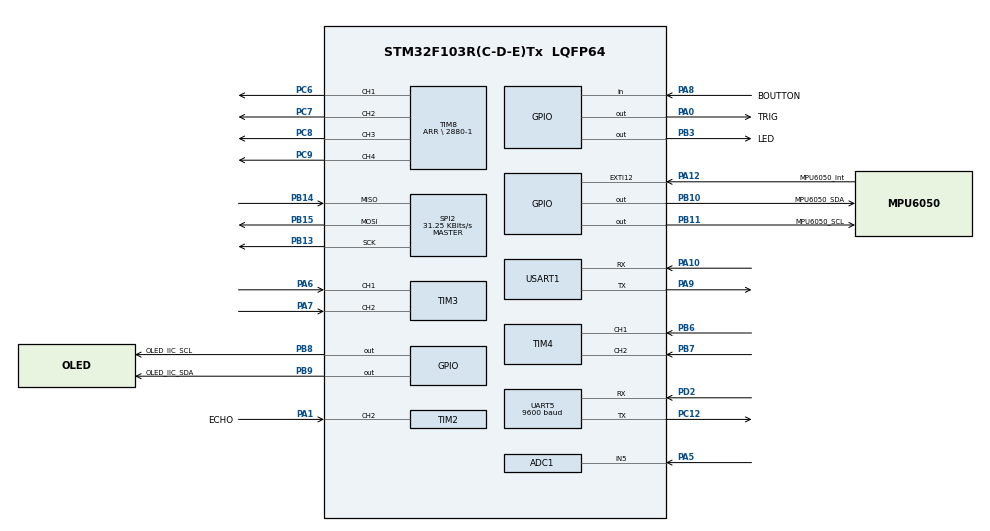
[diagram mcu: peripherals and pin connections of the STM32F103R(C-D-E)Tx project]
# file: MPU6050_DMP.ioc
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ADC1.Channel-1\#ChannelRegularConversion=ADC_CHANNEL_5
ADC1.NbrOfConversionFlag=1
ADC1.Rank-1\#ChannelRegularConversion=1
ADC1.SamplingTime-1\#ChannelRegularConversion=ADC_SAMPLETIME_1CYCLE_5
ADC1.master=1
Mcu.Family=STM32F1
Mcu.Name=STM32F103R(C-D-E)Tx
Mcu.Package=LQFP64
NVIC.EXTI15_10_IRQn=true\:2\:0\:true\:false\:true\:true\:true\:true
NVIC.PriorityGroup=NVIC_PRIORITYGROUP_4
NVIC.SPI2_IRQn=true\:0\:0\:false\:false\:true\:true\:true\:true
NVIC.TIM2_IRQn=true\:1\:0\:true\:false\:true\:true\:true\:true
NVIC.TIM6_IRQn=true\:3\:0\:true\:false\:true\:true\:true\:true
NVIC.UART5_IRQn=true\:0\:0\:false\:false\:true\:true\:true\:true
PA0-WKUP.GPIO_Label=TRIG
PA0-WKUP.Signal=GPIO_Output
PA1.GPIO_Label=ECHO
PA1.GPIO_ModeDefaultPP=GPIO_MODE_AF_OD
PA1.Signal=S_TIM2_CH2
PA10.Mode=Asynchronous
PA10.Signal=USART1_RX
PA12.GPIO_Label=MPU6050_Int
PA12.GPIO_ModeDefaultEXTI=GPIO_MODE_IT_RISING
PA12.GPIO_PuPd=GPIO_PULLUP
PA12.Signal=GPXTI12
PA5.Signal=ADCx_IN5
PA6.Signal=S_TIM3_CH1
PA7.Signal=S_TIM3_CH2
PA8.GPIO_Label=BOUTTON
PA8.GPIO_PuPd=GPIO_PULLUP
PA8.Signal=GPIO_Input
PA9.Mode=Asynchronous
PA9.Signal=USART1_TX
PB10.GPIO_Label=MPU6050_SDA
PB10.GPIO_PuPd=GPIO_PULLUP
PB10.GPIO_Speed=GPIO_SPEED_FREQ_LOW
PB10.Signal=GPIO_Output
PB11.GPIO_Label=MPU6050_SCL
PB11.GPIO_PuPd=GPIO_PULLUP
PB11.GPIO_Speed=GPIO_SPEED_FREQ_LOW
PB11.Signal=GPIO_Output
PB12.Signal=SPI2_NSS
PB13.Mode=Full_Duplex_Master
PB13.Signal=SPI2_SCK
PB14.Mode=Full_Duplex_Master
PB14.Signal=SPI2_MISO
PB15.Mode=Full_Duplex_Master
PB15.Signal=SPI2_MOSI
PB3.GPIO_Label=LED
PB3.Signal=GPIO_Output
PB6.Signal=S_TIM4_CH1
PB7.Signal=S_TIM4_CH2
PB8.GPIO_Label=OLED_IIC_SCL
PB8.GPIO_PuPd=GPIO_PULLUP
PB8.Signal=GPIO_Output
PB9.GPIO_Label=OLED_IIC_SDA
PB9.GPIO_ModeDefaultOutputPP=GPIO_MODE_OUTPUT_PP
PB9.GPIO_PuPd=GPIO_PULLUP
PB9.PinState=GPIO_PIN_RESET
PB9.Signal=GPIO_Output
PC12.Mode=Asynchronous
PC12.Signal=UART5_TX
PC6.Signal=S_TIM8_CH1
PC7.Signal=S_TIM8_CH2
PC8.Signal=S_TIM8_CH3
PC9.Signal=S_TIM8_CH4
PD2.GPIO_PuPd=GPIO_NOPULL
PD2.Mode=Asynchronous
PD2.Signal=UART5_RX
ProjectManager.HeapSize=0x200
ProjectManager.StackSize=0x400
ProjectManager.TargetToolchain=STM32CubeIDE
RCC.APB1Freq_Value=8000000
RCC.APB2Freq_Value=8000000
SH.ADCx_IN5.0=ADC1_IN5,IN5
SH.S_TIM2_CH2.0=TIM2_CH2,Input_Capture2_from_TI2
SH.S_TIM3_CH1.0=TIM3_CH1,Encoder_Interface
SH.S_TIM3_CH2.0=TIM3_CH2,Encoder_Interface
SH.S_TIM4_CH1.0=TIM4_CH1,Encoder_Interface
SH.S_TIM4_CH2.0=TIM4_CH2,Encoder_Interface
SH.S_TIM8_CH1.0=TIM8_CH1,PWM Generation1 CH1
SH.S_TIM8_CH2.0=TIM8_CH2,PWM Generation2 CH2
SH.S_TIM8_CH3.0=TIM8_CH3,PWM Generation3 CH3
SH.S_TIM8_CH4.0=TIM8_CH4,PWM Generation4 CH4
SPI2.BaudRatePrescaler=SPI_BAUDRATEPRESCALER_256
SPI2.CLKPhase=SPI_PHASE_2EDGE
SPI2.CLKPolarity=SPI_POLARITY_HIGH
SPI2.CalculateBaudRate=31.25 KBits/s
SPI2.Direction=SPI_DIRECTION_2LINES
SPI2.Mode=SPI_MODE_MASTER
SPI2.VirtualType=VM_MASTER
TIM2.AutoReloadPreload=TIM_AUTORELOAD_PRELOAD_ENABLE
TIM2.Channel-Input_Capture2_from_TI2=TIM_CHANNEL_2
TIM2.Prescaler=71
TIM6.Period=99
TIM6.Prescaler=7199
TIM8.AutoReloadPreload=TIM_AUTORELOAD_PRELOAD_ENABLE
TIM8.Channel-PWM\ Generation1\ CH1=TIM_CHANNEL_1
TIM8.Channel-PWM\ Generation2\ CH2=TIM_CHANNEL_2
TIM8.Channel-PWM\ Generation3\ CH3=TIM_CHANNEL_3
TIM8.Channel-PWM\ Generation4\ CH4=TIM_CHANNEL_4
TIM8.Period=\ 2880-1
UART5.BaudRate=9600
UART5.VirtualMode=Asynchronous
USART1.VirtualMode=VM_ASYNC
VP_SYS_VS_ND.Mode=No_Debug
VP_TIM2_VS_ClockSourceINT.Mode=Internal
VP_TIM6_VS_ClockSourceINT.Mode=Enable_Timer
board=custom

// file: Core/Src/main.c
/* USER CODE BEGIN Header */
/**
  ******************************************************************************
  * @file           : main.c
  * @brief          : Main program body
  ******************************************************************************
  * @attention
  *
  * Copyright (c) 2025 STMicroelectronics.
  * All rights reserved.
  *
  * This software is licensed under terms that can be found in the LICENSE file
  * in the root directory of this software component.
  * If no LICENSE file comes with this software, it is provided AS-IS.
  *
  ******************************************************************************
  */
/* USER CODE END Header */
#include "main.h"

/* USER CODE BEGIN Includes */
#include <stdio.h>

/* USER CODE END Includes */

/* USER CODE BEGIN PTD */
uint8_t GET_Angle_Way=2;                             // Algorithms for obtaining angles: 1: Quaternion 2: Kalman 3: Complementary filtering
float Angle_Balance,Gyro_Balance,Gyro_Turn;     		// Balanced tilt Balanced gyro Steering gyro
int Motor_Left,Motor_Right;                 	  		// Motor PWM variables
int Temperature;                                		// Temperature variables
float Acceleration_Z;                           		// Z-axis accelerometer
int Mid_Angle;                          						// Mechanical median
float Move_X,Move_Z; //
u8 Stop_Flag = 1;

char showbuf[20]={'\0'};

extern volatile uint8_t Start_Flag;
uint8_t mpu_data_ready = 0;
uint8_t ccd_conut = 0;

uint8_t UART5_RxByte;

/* USER CODE END PTD */

ADC_HandleTypeDef hadc1;

SPI_HandleTypeDef hspi2;

TIM_HandleTypeDef htim2;
TIM_HandleTypeDef htim3;
TIM_HandleTypeDef htim4;
TIM_HandleTypeDef htim6;
TIM_HandleTypeDef htim8;

UART_HandleTypeDef huart5;
UART_HandleTypeDef huart1;

void SystemClock_Config(void);
static void MX_GPIO_Init(void);
static void MX_TIM6_Init(void);
static void MX_TIM3_Init(void);
static void MX_TIM4_Init(void);
static void MX_TIM8_Init(void);
static void MX_USART1_UART_Init(void);
static void MX_ADC1_Init(void);
static void MX_TIM2_Init(void);
static void MX_UART5_Init(void);
static void MX_SPI2_Init(void);

/* USER CODE BEGIN 0 */
int _write(int file, char *ptr, int len)
{
    HAL_UART_Transmit(&huart1, (uint8_t*)ptr, len, HAL_MAX_DELAY );
    return len;
}

/* USER CODE END 0 */

int main(void)
{

  /* MCU Configuration--------------------------------------------------------*/

  /* Reset of all peripherals, Initializes the Flash interface and the Systick. */
  HAL_Init();

  /* Configure the system clock */
  SystemClock_Config();

  /* Initialize all configured peripherals */
  MX_GPIO_Init();
  MX_TIM6_Init();
  MX_TIM3_Init();
  MX_TIM4_Init();
  MX_TIM8_Init();
  MX_USART1_UART_Init();
  MX_ADC1_Init();
  MX_TIM2_Init();
  MX_UART5_Init();
  MX_SPI2_Init();
  /* USER CODE BEGIN 2 */
  /* USER CODE BEGIN 2 */

  HAL_UART_Receive_IT(&huart5, &UART5_RxByte, 1);

  // Désactiver temporairement l'interruption
   HAL_NVIC_DisableIRQ(EXTI15_10_IRQn);
   delay_init();
   Motor_start();
   Encoder_Init_TIM3();
   Encoder_Init_TIM4();

   Ultrasonic_Init();
   PS2_Init();
   HAL_Delay(300);

   PS2_SetInit();
   HAL_Delay(300);

   OLED_I2C_Init();
   OLED_Draw_Line("oled init success!", 1, true, true);

   printf("\r\n========================================\r\n");
   printf("  ROBOT AUTO-ÉQUILIBRANT v1.0\r\n");
   printf("========================================\r\n");
   printf("Hardware:\r\n");
   printf("  I2C: PB10(SDA), PB11(SCL)\r\n");
   printf("  INT: PC15\r\n");
   printf("  BTN: PA8 (Start/Stop)\r\n");
   printf("  LED: PA11 (Debug)\r\n");
   printf("========================================\r\n\r\n");

   HAL_Delay(500);
   // Test GPIO I2C
     printf("[1/6] Testing I2C GPIO...\r\n");
    IIC_Start();
    IIC_Stop();

    HAL_Delay(1);

   // Initialisation MPU6050
   printf("[3/6] Initializing MPU6050...\r\n");
   HAL_Delay(300);
   MPU6050_initialize();
   HAL_Delay(200);

   // Initialisation DMP
   printf("[4/6] Initializing DMP...\r\n");
   DMP_Init();
   HAL_Delay(300);
   printf("      ✓ DMP ready\r\n\r\n");

   // Configuration interruption
   printf("[5/6] Configuring interrupt...\r\n");
   MPU6050_EXTI_Init();
   HAL_Delay(100);

   printf("[6/6] Calibration...\r\n");
   Mid_Angle = 1;
   printf("      Mid_Angle: %.d° (fixed)\r\n", Mid_Angle);
   printf("      ✓ Calibration skipped\r\n\r\n");
   // Configuration finale
   angle_max = 40;
   Stop_Flag = 1;      // Robot arrêté au démarrage

   printf("========================================\r\n");
   printf("  ✓ SYSTEM READY!\r\n");
   printf("========================================\r\n");
   printf("Configuration:\r\n");
   printf("  Stop_Flag: 1 (Waiting for button)\r\n");
   printf("========================================\r\n");
   printf("\r\n>>> PRESS BUTTON (PA8) TO START <<<\r\n\r\n");

  /* USER CODE END 2 */

  /* Infinite loop */
  /* USER CODE BEGIN WHILE */

   HAL_NVIC_EnableIRQ(EXTI15_10_IRQn);
   printf("      ✓ EXTI enabled\r\n\r\n");
     // Key1_State(0) détecte un appui court
   while(Key1_State(0) == BOUTTON_RELEASE )
     {
         // On fait clignoter une LED pour montrer que le système n'est pas planté
         HAL_GPIO_TogglePin(LED_GPIO_Port, LED_Pin);
         HAL_Delay(100);
      }

     // Une fois sorti de la boucle (bouton pressé)
     printf(">>> STARTING CONTROL LOOP <<<\r\n");
     Stop_Flag = 0;
     HAL_GPIO_WritePin(LED_GPIO_Port, LED_Pin, GPIO_PIN_SET); // LED fixe = ON
     Car_Target_Velocity = 0;
     Car_Turn_Amplitude_speed = 0;
     printf(">>> Robot moving forward at velocity %.1f <<<\r\n", Car_Target_Velocity);
  while (1)
  {

	  //OLED_Draw_Line(showbuf, 2, false, true);
	  //sprintf(showbuf,"dis = %ld mm  ",g_distance);
	  //HAL_Delay(20);

    /* USER CODE END WHILE */

  }
}

void SystemClock_Config(void)
{
  RCC_OscInitTypeDef RCC_OscInitStruct = {0};
  RCC_ClkInitTypeDef RCC_ClkInitStruct = {0};
  RCC_PeriphCLKInitTypeDef PeriphClkInit = {0};

  /** Initializes the RCC Oscillators according to the specified parameters
  * in the RCC_OscInitTypeDef structure.
  */
  RCC_OscInitStruct.OscillatorType = RCC_OSCILLATORTYPE_HSI;
  RCC_OscInitStruct.HSIState = RCC_HSI_ON;
  RCC_OscInitStruct.HSICalibrationValue = RCC_HSICALIBRATION_DEFAULT;
  RCC_OscInitStruct.PLL.PLLState = RCC_PLL_NONE;
  if (HAL_RCC_OscConfig(&RCC_OscInitStruct) != HAL_OK)
  {
    Error_Handler();
  }

  /** Initializes the CPU, AHB and APB buses clocks
  */
  RCC_ClkInitStruct.ClockType = RCC_CLOCKTYPE_HCLK|RCC_CLOCKTYPE_SYSCLK
                              |RCC_CLOCKTYPE_PCLK1|RCC_CLOCKTYPE_PCLK2;
  RCC_ClkInitStruct.SYSCLKSource = RCC_SYSCLKSOURCE_HSI;
  RCC_ClkInitStruct.AHBCLKDivider = RCC_SYSCLK_DIV1;
  RCC_ClkInitStruct.APB1CLKDivider = RCC_HCLK_DIV1;
  RCC_ClkInitStruct.APB2CLKDivider = RCC_HCLK_DIV1;

  if (HAL_RCC_ClockConfig(&RCC_ClkInitStruct, FLASH_LATENCY_0) != HAL_OK)
  {
    Error_Handler();
  }
  PeriphClkInit.PeriphClockSelection = RCC_PERIPHCLK_ADC;
  PeriphClkInit.AdcClockSelection = RCC_ADCPCLK2_DIV2;
  if (HAL_RCCEx_PeriphCLKConfig(&PeriphClkInit) != HAL_OK)
  {
    Error_Handler();
  }
}

static void MX_ADC1_Init(void)
{

  ADC_ChannelConfTypeDef sConfig = {0};

  /** Common config
  */
  hadc1.Instance = ADC1;
  hadc1.Init.ScanConvMode = ADC_SCAN_DISABLE;
  hadc1.Init.ContinuousConvMode = DISABLE;
  hadc1.Init.DiscontinuousConvMode = DISABLE;
  hadc1.Init.ExternalTrigConv = ADC_SOFTWARE_START;
  hadc1.Init.DataAlign = ADC_DATAALIGN_RIGHT;
  hadc1.Init.NbrOfConversion = 1;
  if (HAL_ADC_Init(&hadc1) != HAL_OK)
  {
    Error_Handler();
  }

  /** Configure Regular Channel
  */
  sConfig.Channel = ADC_CHANNEL_5;
  sConfig.Rank = ADC_REGULAR_RANK_1;
  sConfig.SamplingTime = ADC_SAMPLETIME_1CYCLE_5;
  if (HAL_ADC_ConfigChannel(&hadc1, &sConfig) != HAL_OK)
  {
    Error_Handler();
  }

}

static void MX_SPI2_Init(void)
{

  /* SPI2 parameter configuration*/
  hspi2.Instance = SPI2;
  hspi2.Init.Mode = SPI_MODE_MASTER;
  hspi2.Init.Direction = SPI_DIRECTION_2LINES;
  hspi2.Init.DataSize = SPI_DATASIZE_8BIT;
  hspi2.Init.CLKPolarity = SPI_POLARITY_HIGH;
  hspi2.Init.CLKPhase = SPI_PHASE_2EDGE;
  hspi2.Init.NSS = SPI_NSS_SOFT;
  hspi2.Init.BaudRatePrescaler = SPI_BAUDRATEPRESCALER_256;
  hspi2.Init.FirstBit = SPI_FIRSTBIT_MSB;
  hspi2.Init.TIMode = SPI_TIMODE_DISABLE;
  hspi2.Init.CRCCalculation = SPI_CRCCALCULATION_DISABLE;
  hspi2.Init.CRCPolynomial = 10;
  if (HAL_SPI_Init(&hspi2) != HAL_OK)
  {
    Error_Handler();
  }

}

static void MX_TIM2_Init(void)
{

  TIM_ClockConfigTypeDef sClockSourceConfig = {0};
  TIM_MasterConfigTypeDef sMasterConfig = {0};
  TIM_IC_InitTypeDef sConfigIC = {0};

  htim2.Instance = TIM2;
  htim2.Init.Prescaler = 71;
  htim2.Init.CounterMode = TIM_COUNTERMODE_UP;
  htim2.Init.Period = 65535;
  htim2.Init.ClockDivision = TIM_CLOCKDIVISION_DIV1;
  htim2.Init.AutoReloadPreload = TIM_AUTORELOAD_PRELOAD_ENABLE;
  if (HAL_TIM_Base_Init(&htim2) != HAL_OK)
  {
    Error_Handler();
  }
  sClockSourceConfig.ClockSource = TIM_CLOCKSOURCE_INTERNAL;
  if (HAL_TIM_ConfigClockSource(&htim2, &sClockSourceConfig) != HAL_OK)
  {
    Error_Handler();
  }
  if (HAL_TIM_IC_Init(&htim2) != HAL_OK)
  {
    Error_Handler();
  }
  sMasterConfig.MasterOutputTrigger = TIM_TRGO_RESET;
  sMasterConfig.MasterSlaveMode = TIM_MASTERSLAVEMODE_DISABLE;
  if (HAL_TIMEx_MasterConfigSynchronization(&htim2, &sMasterConfig) != HAL_OK)
  {
    Error_Handler();
  }
  sConfigIC.ICPolarity = TIM_INPUTCHANNELPOLARITY_RISING;
  sConfigIC.ICSelection = TIM_ICSELECTION_DIRECTTI;
  sConfigIC.ICPrescaler = TIM_ICPSC_DIV1;
  sConfigIC.ICFilter = 0;
  if (HAL_TIM_IC_ConfigChannel(&htim2, &sConfigIC, TIM_CHANNEL_2) != HAL_OK)
  {
    Error_Handler();
  }

}

static void MX_TIM3_Init(void)
{

  TIM_Encoder_InitTypeDef sConfig = {0};
  TIM_MasterConfigTypeDef sMasterConfig = {0};

  htim3.Instance = TIM3;
  htim3.Init.Prescaler = 0;
  htim3.Init.CounterMode = TIM_COUNTERMODE_UP;
  htim3.Init.Period = 65535;
  htim3.Init.ClockDivision = TIM_CLOCKDIVISION_DIV1;
  htim3.Init.AutoReloadPreload = TIM_AUTORELOAD_PRELOAD_DISABLE;
  sConfig.EncoderMode = TIM_ENCODERMODE_TI1;
  sConfig.IC1Polarity = TIM_ICPOLARITY_RISING;
  sConfig.IC1Selection = TIM_ICSELECTION_DIRECTTI;
  sConfig.IC1Prescaler = TIM_ICPSC_DIV1;
  sConfig.IC1Filter = 0;
  sConfig.IC2Polarity = TIM_ICPOLARITY_RISING;
  sConfig.IC2Selection = TIM_ICSELECTION_DIRECTTI;
  sConfig.IC2Prescaler = TIM_ICPSC_DIV1;
  sConfig.IC2Filter = 0;
  if (HAL_TIM_Encoder_Init(&htim3, &sConfig) != HAL_OK)
  {
    Error_Handler();
  }
  sMasterConfig.MasterOutputTrigger = TIM_TRGO_RESET;
  sMasterConfig.MasterSlaveMode = TIM_MASTERSLAVEMODE_DISABLE;
  if (HAL_TIMEx_MasterConfigSynchronization(&htim3, &sMasterConfig) != HAL_OK)
  {
    Error_Handler();
  }

}

static void MX_TIM4_Init(void)
{

  TIM_Encoder_InitTypeDef sConfig = {0};
  TIM_MasterConfigTypeDef sMasterConfig = {0};

  htim4.Instance = TIM4;
  htim4.Init.Prescaler = 0;
  htim4.Init.CounterMode = TIM_COUNTERMODE_UP;
  htim4.Init.Period = 65535;
  htim4.Init.ClockDivision = TIM_CLOCKDIVISION_DIV1;
  htim4.Init.AutoReloadPreload = TIM_AUTORELOAD_PRELOAD_DISABLE;
  sConfig.EncoderMode = TIM_ENCODERMODE_TI1;
  sConfig.IC1Polarity = TIM_ICPOLARITY_RISING;
  sConfig.IC1Selection = TIM_ICSELECTION_DIRECTTI;
  sConfig.IC1Prescaler = TIM_ICPSC_DIV1;
  sConfig.IC1Filter = 0;
  sConfig.IC2Polarity = TIM_ICPOLARITY_RISING;
  sConfig.IC2Selection = TIM_ICSELECTION_DIRECTTI;
  sConfig.IC2Prescaler = TIM_ICPSC_DIV1;
  sConfig.IC2Filter = 0;
  if (HAL_TIM_Encoder_Init(&htim4, &sConfig) != HAL_OK)
  {
    Error_Handler();
  }
  sMasterConfig.MasterOutputTrigger = TIM_TRGO_RESET;
  sMasterConfig.MasterSlaveMode = TIM_MASTERSLAVEMODE_DISABLE;
  if (HAL_TIMEx_MasterConfigSynchronization(&htim4, &sMasterConfig) != HAL_OK)
  {
    Error_Handler();
  }

}

static void MX_TIM6_Init(void)
{

  TIM_MasterConfigTypeDef sMasterConfig = {0};

  htim6.Instance = TIM6;
  htim6.Init.Prescaler = 7199;
  htim6.Init.CounterMode = TIM_COUNTERMODE_UP;
  htim6.Init.Period = 99;
  htim6.Init.AutoReloadPreload = TIM_AUTORELOAD_PRELOAD_DISABLE;
  if (HAL_TIM_Base_Init(&htim6) != HAL_OK)
  {
    Error_Handler();
  }
  sMasterConfig.MasterOutputTrigger = TIM_TRGO_RESET;
  sMasterConfig.MasterSlaveMode = TIM_MASTERSLAVEMODE_DISABLE;
  if (HAL_TIMEx_MasterConfigSynchronization(&htim6, &sMasterConfig) != HAL_OK)
  {
    Error_Handler();
  }

}

static void MX_TIM8_Init(void)
{

  TIM_MasterConfigTypeDef sMasterConfig = {0};
  TIM_OC_InitTypeDef sConfigOC = {0};
  TIM_BreakDeadTimeConfigTypeDef sBreakDeadTimeConfig = {0};

  htim8.Instance = TIM8;
  htim8.Init.Prescaler = 0;
  htim8.Init.CounterMode = TIM_COUNTERMODE_UP;
  htim8.Init.Period = 2880-1;
  htim8.Init.ClockDivision = TIM_CLOCKDIVISION_DIV1;
  htim8.Init.RepetitionCounter = 0;
  htim8.Init.AutoReloadPreload = TIM_AUTORELOAD_PRELOAD_ENABLE;
  if (HAL_TIM_PWM_Init(&htim8) != HAL_OK)
  {
    Error_Handler();
  }
  sMasterConfig.MasterOutputTrigger = TIM_TRGO_RESET;
  sMasterConfig.MasterSlaveMode = TIM_MASTERSLAVEMODE_DISABLE;
  if (HAL_TIMEx_MasterConfigSynchronization(&htim8, &sMasterConfig) != HAL_OK)
  {
    Error_Handler();
  }
  sConfigOC.OCMode = TIM_OCMODE_PWM1;
  sConfigOC.Pulse = 0;
  sConfigOC.OCPolarity = TIM_OCPOLARITY_HIGH;
  sConfigOC.OCNPolarity = TIM_OCNPOLARITY_HIGH;
  sConfigOC.OCFastMode = TIM_OCFAST_DISABLE;
  sConfigOC.OCIdleState = TIM_OCIDLESTATE_RESET;
  sConfigOC.OCNIdleState = TIM_OCNIDLESTATE_RESET;
  if (HAL_TIM_PWM_ConfigChannel(&htim8, &sConfigOC, TIM_CHANNEL_1) != HAL_OK)
  {
    Error_Handler();
  }
  if (HAL_TIM_PWM_ConfigChannel(&htim8, &sConfigOC, TIM_CHANNEL_2) != HAL_OK)
  {
    Error_Handler();
  }
  if (HAL_TIM_PWM_ConfigChannel(&htim8, &sConfigOC, TIM_CHANNEL_3) != HAL_OK)
  {
    Error_Handler();
  }
  if (HAL_TIM_PWM_ConfigChannel(&htim8, &sConfigOC, TIM_CHANNEL_4) != HAL_OK)
  {
    Error_Handler();
  }
  sBreakDeadTimeConfig.OffStateRunMode = TIM_OSSR_DISABLE;
  sBreakDeadTimeConfig.OffStateIDLEMode = TIM_OSSI_DISABLE;
  sBreakDeadTimeConfig.LockLevel = TIM_LOCKLEVEL_OFF;
  sBreakDeadTimeConfig.DeadTime = 0;
  sBreakDeadTimeConfig.BreakState = TIM_BREAK_DISABLE;
  sBreakDeadTimeConfig.BreakPolarity = TIM_BREAKPOLARITY_HIGH;
  sBreakDeadTimeConfig.AutomaticOutput = TIM_AUTOMATICOUTPUT_DISABLE;
  if (HAL_TIMEx_ConfigBreakDeadTime(&htim8, &sBreakDeadTimeConfig) != HAL_OK)
  {
    Error_Handler();
  }
  HAL_TIM_MspPostInit(&htim8);

}

static void MX_UART5_Init(void)
{

  huart5.Instance = UART5;
  huart5.Init.BaudRate = 9600;
  huart5.Init.WordLength = UART_WORDLENGTH_8B;
  huart5.Init.StopBits = UART_STOPBITS_1;
  huart5.Init.Parity = UART_PARITY_NONE;
  huart5.Init.Mode = UART_MODE_TX_RX;
  huart5.Init.HwFlowCtl = UART_HWCONTROL_NONE;
  huart5.Init.OverSampling = UART_OVERSAMPLING_16;
  if (HAL_UART_Init(&huart5) != HAL_OK)
  {
    Error_Handler();
  }

}

static void MX_USART1_UART_Init(void)
{

  huart1.Instance = USART1;
  huart1.Init.BaudRate = 115200;
  huart1.Init.WordLength = UART_WORDLENGTH_8B;
  huart1.Init.StopBits = UART_STOPBITS_1;
  huart1.Init.Parity = UART_PARITY_NONE;
  huart1.Init.Mode = UART_MODE_TX_RX;
  huart1.Init.HwFlowCtl = UART_HWCONTROL_NONE;
  huart1.Init.OverSampling = UART_OVERSAMPLING_16;
  if (HAL_UART_Init(&huart1) != HAL_OK)
  {
    Error_Handler();
  }

}

static void MX_GPIO_Init(void)
{
  GPIO_InitTypeDef GPIO_InitStruct = {0};

  /* GPIO Ports Clock Enable */
  __HAL_RCC_GPIOA_CLK_ENABLE();
  __HAL_RCC_GPIOB_CLK_ENABLE();
  __HAL_RCC_GPIOC_CLK_ENABLE();
  __HAL_RCC_GPIOD_CLK_ENABLE();

  /*Configure GPIO pin Output Level */
  HAL_GPIO_WritePin(TRIG_GPIO_Port, TRIG_Pin, GPIO_PIN_RESET);

  /*Configure GPIO pin Output Level */
  HAL_GPIO_WritePin(GPIOB, MPU6050_SDA_Pin|MPU6050_SCL_Pin|LED_Pin|OLED_IIC_SCL_Pin
                          |OLED_IIC_SDA_Pin, GPIO_PIN_RESET);

  /*Configure GPIO pin : TRIG_Pin */
  GPIO_InitStruct.Pin = TRIG_Pin;
  GPIO_InitStruct.Mode = GPIO_MODE_OUTPUT_PP;
  GPIO_InitStruct.Pull = GPIO_NOPULL;
  GPIO_InitStruct.Speed = GPIO_SPEED_FREQ_LOW;
  HAL_GPIO_Init(TRIG_GPIO_Port, &GPIO_InitStruct);

  /*Configure GPIO pins : MPU6050_SDA_Pin MPU6050_SCL_Pin OLED_IIC_SCL_Pin OLED_IIC_SDA_Pin */
  GPIO_InitStruct.Pin = MPU6050_SDA_Pin|MPU6050_SCL_Pin|OLED_IIC_SCL_Pin|OLED_IIC_SDA_Pin;
  GPIO_InitStruct.Mode = GPIO_MODE_OUTPUT_PP;
  GPIO_InitStruct.Pull = GPIO_PULLUP;
  GPIO_InitStruct.Speed = GPIO_SPEED_FREQ_LOW;
  HAL_GPIO_Init(GPIOB, &GPIO_InitStruct);

  /*Configure GPIO pin : BOUTTON_Pin */
  GPIO_InitStruct.Pin = BOUTTON_Pin;
  GPIO_InitStruct.Mode = GPIO_MODE_INPUT;
  GPIO_InitStruct.Pull = GPIO_PULLUP;
  HAL_GPIO_Init(BOUTTON_GPIO_Port, &GPIO_InitStruct);

  /*Configure GPIO pin : MPU6050_Int_Pin */
  GPIO_InitStruct.Pin = MPU6050_Int_Pin;
  GPIO_InitStruct.Mode = GPIO_MODE_IT_RISING;
  GPIO_InitStruct.Pull = GPIO_PULLUP;
  HAL_GPIO_Init(MPU6050_Int_GPIO_Port, &GPIO_InitStruct);

  /*Configure GPIO pin : LED_Pin */
  GPIO_InitStruct.Pin = LED_Pin;
  GPIO_InitStruct.Mode = GPIO_MODE_OUTPUT_PP;
  GPIO_InitStruct.Pull = GPIO_NOPULL;
  GPIO_InitStruct.Speed = GPIO_SPEED_FREQ_LOW;
  HAL_GPIO_Init(LED_GPIO_Port, &GPIO_InitStruct);

  /* EXTI interrupt init*/
  HAL_NVIC_SetPriority(EXTI15_10_IRQn, 2, 0);
  HAL_NVIC_EnableIRQ(EXTI15_10_IRQn);

}

void Error_Handler(void)
{
  __disable_irq();
  while (1)
  {
  }
}
